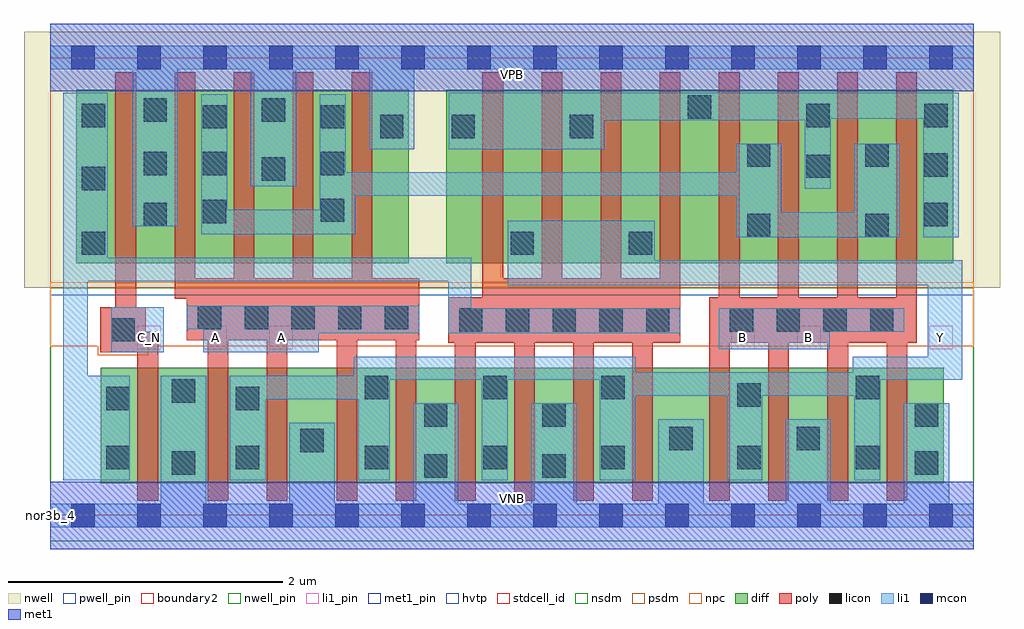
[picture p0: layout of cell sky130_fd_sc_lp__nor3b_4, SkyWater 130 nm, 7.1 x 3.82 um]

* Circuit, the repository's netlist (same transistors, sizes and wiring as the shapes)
* Copyright 2020 The SkyWater PDK Authors
*
* Licensed under the Apache License, Version 2.0 (the "License");
* you may not use this file except in compliance with the License.
* You may obtain a copy of the License at
*
*     https://www.apache.org/licenses/LICENSE-2.0
*
* Unless required by applicable law or agreed to in writing, software
* distributed under the License is distributed on an "AS IS" BASIS,
* WITHOUT WARRANTIES OR CONDITIONS OF ANY KIND, either express or implied.
* See the License for the specific language governing permissions and
* limitations under the License.
*
* SPDX-License-Identifier: Apache-2.0

.SUBCKT sky130_fd_sc_lp__nor3b_4 A B C_N VGND VNB VPB VPWR Y
*.PININFO A:I B:I C_N:I VGND:I VNB:I VPB:I VPWR:I Y:O
MMP0 VPWR A sndPA VPB sky130_fd_pr__pfet_01v8_hvt m=4 w=1.26U l=0.15U mult=1 sa=0.265
+ sb=0.265 sd=0.28 area=0.063 perim=1.14
MMP1 sndPA B sndPB VPB sky130_fd_pr__pfet_01v8_hvt m=4 w=1.26U l=0.15U mult=1 sa=0.265
+ sb=0.265 sd=0.28 area=0.063 perim=1.14
MMP2 sndPB C Y VPB sky130_fd_pr__pfet_01v8_hvt m=4 w=1.26U l=0.15U mult=1 sa=0.265
+ sb=0.265 sd=0.28 area=0.063 perim=1.14
MMIP2 C C_N VPWR VPB sky130_fd_pr__pfet_01v8_hvt m=1 w=1.26U l=0.15U mult=1 sa=0.265
+ sb=0.265 sd=0.28 area=0.063 perim=1.14
MMN0 Y A VGND VNB sky130_fd_pr__nfet_01v8 m=4 w=0.84U l=0.15U mult=1 sa=0.265 sb=0.265
+ sd=0.28 area=0.063 perim=1.14
MMN1 Y B VGND VNB sky130_fd_pr__nfet_01v8 m=4 w=0.84U l=0.15U mult=1 sa=0.265 sb=0.265
+ sd=0.28 area=0.063 perim=1.14
MMN2 Y C VGND VNB sky130_fd_pr__nfet_01v8 m=4 w=0.84U l=0.15U mult=1 sa=0.265 sb=0.265
+ sd=0.28 area=0.063 perim=1.14
MMIN2 C C_N VGND VNB sky130_fd_pr__nfet_01v8 m=1 w=0.84U l=0.15U mult=1 sa=0.265
+ sb=0.265 sd=0.28 area=0.063 perim=1.14
.ENDS sky130_fd_sc_lp__nor3b_4

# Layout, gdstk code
import gdstk
lib = gdstk.Library(unit=1e-6, precision=1e-09)
def R(c, l, rs):  # rectangles x0, y0, x1, y1
    for r in rs: c.add(gdstk.rectangle(r[:2], r[2:], *l))
def A(c, l, x, y, w, h, nx, ny, dx, dy):  # array of equal rectangles
    R(c, l, [(x+i*dx, y+j*dy, x+i*dx+w, y+j*dy+h) for i in range(nx) for j in range(ny)])
def P(c, l, *ps):  # polygons
    for p in ps: c.add(gdstk.Polygon(p, *l))
nwell_pin = (64, 16)
nwell = (64, 20)
diff = (65, 20)
poly = (66, 20)
licon = (66, 44)
li1_pin = (67, 16)
li1 = (67, 20)
mcon = (67, 44)
met1_pin = (68, 16)
met1 = (68, 20)
hvtp = (78, 44)
stdcell_id = (81, 4)
nsdm = (93, 44)
psdm = (94, 20)
npc = (95, 20)
pwell_pin = (122, 16)
boundary2 = (236, 0)

sky130_fd_sc_lp__nor3b_4 = lib.new_cell('sky130_fd_sc_lp__nor3b_4')
R(sky130_fd_sc_lp__nor3b_4, nwell_pin, [(0,3.085,6.72,3.33)])
R(sky130_fd_sc_lp__nor3b_4, nwell, [(-0.19,1.655,6.91,3.52)])
R(sky130_fd_sc_lp__nor3b_4, diff, [(0.37,0.235,6.5,1.075), (0.19,1.835,2.61,3.095), (2.88,1.835,6.57,3.095)])
P(sky130_fd_sc_lp__nor3b_4, poly, [(0.785,1.335),(0.695,1.335),(0.695,1.515),(0.625,1.515),(0.625,3.225),(0.475,3.225),(0.475,1.515),(0.365,1.515),(0.365,1.185),(0.635,1.185),(0.635,0.105),(0.785,0.105)],
  [(2.685,1.725),(2.345,1.725),(2.345,3.225),(2.195,3.225),(2.195,1.725),(1.915,1.725),(1.915,3.225),(1.765,3.225),(1.765,1.725),(1.485,1.725),(1.485,3.225),(1.335,3.225),(1.335,1.725),(1.055,1.725),(1.055,3.225),(0.905,3.225),(0.905,1.575),(0.995,1.575),(0.995,1.275),(1.145,1.275),(1.145,0.105),(1.295,0.105),(1.295,1.275),(1.575,1.275),(1.575,0.105),(1.725,0.105),(1.725,1.275),(2.085,1.275),(2.085,0.105),(2.235,0.105),(2.235,1.275),(2.515,1.275),(2.515,0.105),(2.665,0.105),(2.665,1.275),(2.685,1.275)],
  [(4.585,3.225),(4.435,3.225),(4.435,1.725),(4.155,1.725),(4.155,3.225),(4.005,3.225),(4.005,1.725),(3.725,1.725),(3.725,3.225),(3.575,3.225),(3.575,1.725),(3.295,1.725),(3.295,3.225),(3.145,3.225),(3.145,1.585),(2.895,1.585),(2.895,1.255),(2.945,1.255),(2.945,0.105),(3.095,0.105),(3.095,1.255),(3.375,1.255),(3.375,0.105),(3.525,0.105),(3.525,1.255),(3.805,1.255),(3.805,0.105),(3.955,0.105),(3.955,1.255),(4.235,1.255),(4.235,0.105),(4.385,0.105),(4.385,1.255),(4.585,1.255)],
  [(6.305,3.225),(6.155,3.225),(6.155,1.585),(5.875,1.585),(5.875,3.225),(5.725,3.225),(5.725,1.585),(5.445,1.585),(5.445,3.225),(5.295,3.225),(5.295,1.585),(5.015,1.585),(5.015,3.225),(4.865,3.225),(4.865,1.585),(4.795,1.585),(4.795,0.105),(4.945,0.105),(4.945,1.255),(5.225,1.255),(5.225,0.105),(5.375,0.105),(5.375,1.255),(5.655,1.255),(5.655,0.105),(5.805,0.105),(5.805,1.255),(6.085,1.255),(6.085,0.105),(6.235,0.105),(6.235,1.255),(6.305,1.255)])
A(sky130_fd_sc_lp__nor3b_4, licon, 0.41, 0.335, 0.17, 0.17, 3, 1, 0.94, 0)
A(sky130_fd_sc_lp__nor3b_4, licon, 2.29, 0.845, 0.17, 0.17, 3, 1, 0.86, 0)
A(sky130_fd_sc_lp__nor3b_4, licon, 2.975, 1.335, 0.17, 0.17, 5, 1, 0.34, 0)
A(sky130_fd_sc_lp__nor3b_4, licon, 4.945, 1.335, 0.17, 0.17, 4, 1, 0.34, 0)
A(sky130_fd_sc_lp__nor3b_4, licon, 1.075, 1.355, 0.17, 0.17, 5, 1, 0.34, 0)
A(sky130_fd_sc_lp__nor3b_4, licon, 6.36, 2.105, 0.17, 0.17, 1, 3, 0, 0.36)
A(sky130_fd_sc_lp__nor3b_4, licon, 1.97, 2.135, 0.17, 0.17, 1, 3, 0, 0.34)
R(sky130_fd_sc_lp__nor3b_4, licon, [(2.72,0.275,2.89,0.445), (3.58,0.275,3.75,0.445), (0.885,0.295,1.055,0.465), (6.29,0.295,6.46,0.465), (3.15,0.335,3.32,0.505), (4.01,0.335,4.18,0.505), (5,0.335,5.17,0.505), (5.86,0.335,6.03,0.505), (1.82,0.46,1.99,0.63), (4.505,0.475,4.675,0.645), (5.43,0.475,5.6,0.645), (2.72,0.645,2.89,0.815), (3.58,0.645,3.75,0.815), (6.29,0.645,6.46,0.815), (0.41,0.765,0.58,0.935), (1.35,0.765,1.52,0.935), (5,0.79,5.17,0.96), (0.885,0.82,1.055,0.99), (5.86,0.845,6.03,1.015), (0.445,1.265,0.615,1.435), (0.23,1.895,0.4,2.065), (3.35,1.895,3.52,2.065), (4.21,1.895,4.38,2.065), (5.07,2.025,5.24,2.195), (5.93,2.025,6.1,2.195), (0.68,2.105,0.85,2.275), (1.11,2.125,1.28,2.295), (0.23,2.365,0.4,2.535), (1.54,2.435,1.71,2.605), (5.5,2.455,5.67,2.625), (0.68,2.475,0.85,2.645), (1.11,2.475,1.28,2.645), (5.07,2.535,5.24,2.705), (5.93,2.535,6.1,2.705), (2.4,2.745,2.57,2.915), (2.92,2.745,3.09,2.915), (3.78,2.745,3.95,2.915), (1.11,2.815,1.28,2.985), (0.23,2.825,0.4,2.995), (5.5,2.825,5.67,2.995), (0.68,2.865,0.85,3.035), (1.54,2.865,1.71,3.035), (4.64,2.885,4.81,3.055)])
A(sky130_fd_sc_lp__nor3b_4, li1_pin, 0.635, 1.21, 0.17, 0.17, 3, 1, 0.48, 0)
R(sky130_fd_sc_lp__nor3b_4, li1_pin, [(4.955,1.21,5.125,1.38), (5.435,1.21,5.605,1.38), (6.395,1.21,6.565,1.38)])
R(sky130_fd_sc_lp__nor3b_4, li1, [(0.445,1.185,0.825,1.515)])
P(sky130_fd_sc_lp__nor3b_4, li1, [(2.32,2.665),(2.32,3.245),(1.79,3.245),(1.79,2.395),(1.46,2.395),(1.46,3.245),(0.93,3.245),(0.93,2.105),(0.6,2.105),(0.6,3.245),(0,3.245),(0,3.415),(6.72,3.415),(6.72,3.245),(2.65,3.245),(2.65,2.665)],
  [(3.5,0.085),(3.5,0.815),(3.83,0.815),(3.83,0.085),(4.425,0.085),(4.425,0.7),(4.755,0.7),(4.755,0.085),(5.35,0.085),(5.35,0.7),(5.68,0.7),(5.68,0.085),(6.21,0.085),(6.21,0.815),(6.54,0.815),(6.54,0.085),(6.72,0.085),(6.72,-0.085),(0,-0.085),(0,0.085),(0.805,0.085),(0.805,1.015),(1.135,1.015),(1.135,0.085),(1.74,0.085),(1.74,0.675),(2.07,0.675),(2.07,0.085),(2.64,0.085),(2.64,0.815),(2.97,0.815),(2.97,0.085)],
  [(4.865,1.21),(4.865,1.505),(6.215,1.505),(6.215,1.335),(5.67,1.335),(5.67,1.21)],
  [(0.42,1.875),(3.065,1.875),(3.065,1.505),(4.585,1.505),(4.585,1.325),(2.895,1.325),(2.895,1.705),(0.275,1.705),(0.275,1.015),(0.58,1.015),(0.58,0.255),(0.095,0.255),(0.095,3.075),(0.42,3.075)],
  [(0.995,1.355),(0.995,1.525),(2.685,1.525),(2.685,1.325),(1.955,1.325),(1.955,1.185),(1.115,1.185),(1.115,1.355)],
  [(5.32,2.205),(5.85,2.205),(5.85,2.705),(6.18,2.705),(6.18,2.025),(4.99,2.025),(4.99,2.325),(2.22,2.325),(2.22,2.045),(1.1,2.045),(1.1,3.065),(1.29,3.065),(1.29,2.225),(1.96,2.225),(1.96,3.065),(2.15,3.065),(2.15,2.495),(4.99,2.495),(4.99,2.705),(5.32,2.705)],
  [(6.35,2.885),(5.68,2.885),(5.68,2.375),(5.49,2.375),(5.49,2.875),(4.03,2.875),(4.03,2.665),(2.9,2.665),(2.9,3.075),(6.61,3.075),(6.61,2.025),(6.35,2.025)],
  [(3.33,1.675),(3.33,2.145),(4.4,2.145),(4.4,1.855),(6.635,1.855),(6.635,0.985),(6.04,0.985),(6.04,0.255),(5.85,0.255),(5.85,0.87),(5.18,0.87),(5.18,0.255),(4.925,0.255),(4.925,0.87),(4.255,0.87),(4.255,0.255),(4,0.255),(4,0.985),(3.33,0.985),(3.33,0.255),(3.14,0.255),(3.14,0.985),(2.47,0.985),(2.47,0.255),(2.24,0.255),(2.24,0.845),(1.57,0.845),(1.57,0.255),(1.305,0.255),(1.305,1.015),(2.21,1.015),(2.21,1.155),(4.26,1.155),(4.26,1.04),(5.84,1.04),(5.84,1.155),(6.385,1.155),(6.385,1.675)])
A(sky130_fd_sc_lp__nor3b_4, mcon, 0.155, -0.085, 0.17, 0.17, 14, 2, 0.48, 3.33)
R(sky130_fd_sc_lp__nor3b_4, met1_pin, [(0,0,6.72,0.245), (0,3.085,6.72,3.33)])
R(sky130_fd_sc_lp__nor3b_4, met1, [(0,-0.245,6.72,0.245), (0,3.085,6.72,3.575)])
R(sky130_fd_sc_lp__nor3b_4, hvtp, [(0,1.6,6.72,3.33)])
R(sky130_fd_sc_lp__nor3b_4, stdcell_id, [(0,0,6.72,3.33)])
R(sky130_fd_sc_lp__nor3b_4, nsdm, [(0,-0.19,6.72,1.655)])
R(sky130_fd_sc_lp__nor3b_4, psdm, [(0,1.655,6.72,3.52)])
P(sky130_fd_sc_lp__nor3b_4, npc, [(6.72,1.695),(0,1.695),(0,1.23),(0.345,1.23),(0.345,1.165),(0.715,1.165),(0.715,1.23),(6.72,1.23)])
R(sky130_fd_sc_lp__nor3b_4, pwell_pin, [(0,0,6.72,0.245)])
R(sky130_fd_sc_lp__nor3b_4, boundary2, [(0,0,6.72,3.33)])
sky130_fd_sc_lp__nor3b_4.add(gdstk.Label('VNB', (3.36,0.123), layer=64, texttype=59))
sky130_fd_sc_lp__nor3b_4.add(gdstk.Label('VPB', (3.36,3.208), layer=64, texttype=5))
sky130_fd_sc_lp__nor3b_4.add(gdstk.Label('nor3b_4', (0,0), layer=83, texttype=44))
sky130_fd_sc_lp__nor3b_4.add(gdstk.Label('VPWR', (3.36,3.208), layer=68, texttype=5))
sky130_fd_sc_lp__nor3b_4.add(gdstk.Label('VGND', (3.36,0.123), layer=68, texttype=5))
sky130_fd_sc_lp__nor3b_4.add(gdstk.Label('A', (1.2,1.295), layer=67, texttype=5))
sky130_fd_sc_lp__nor3b_4.add(gdstk.Label('A', (1.68,1.295), layer=67, texttype=5))
sky130_fd_sc_lp__nor3b_4.add(gdstk.Label('B', (5.04,1.295), layer=67, texttype=5))
sky130_fd_sc_lp__nor3b_4.add(gdstk.Label('B', (5.52,1.295), layer=67, texttype=5))
sky130_fd_sc_lp__nor3b_4.add(gdstk.Label('C_N', (0.72,1.295), layer=67, texttype=5))
sky130_fd_sc_lp__nor3b_4.add(gdstk.Label('Y', (6.48,1.295), layer=67, texttype=5))

lib.write_gds('sky130_fd_sc_lp__nor3b_4.gds')
